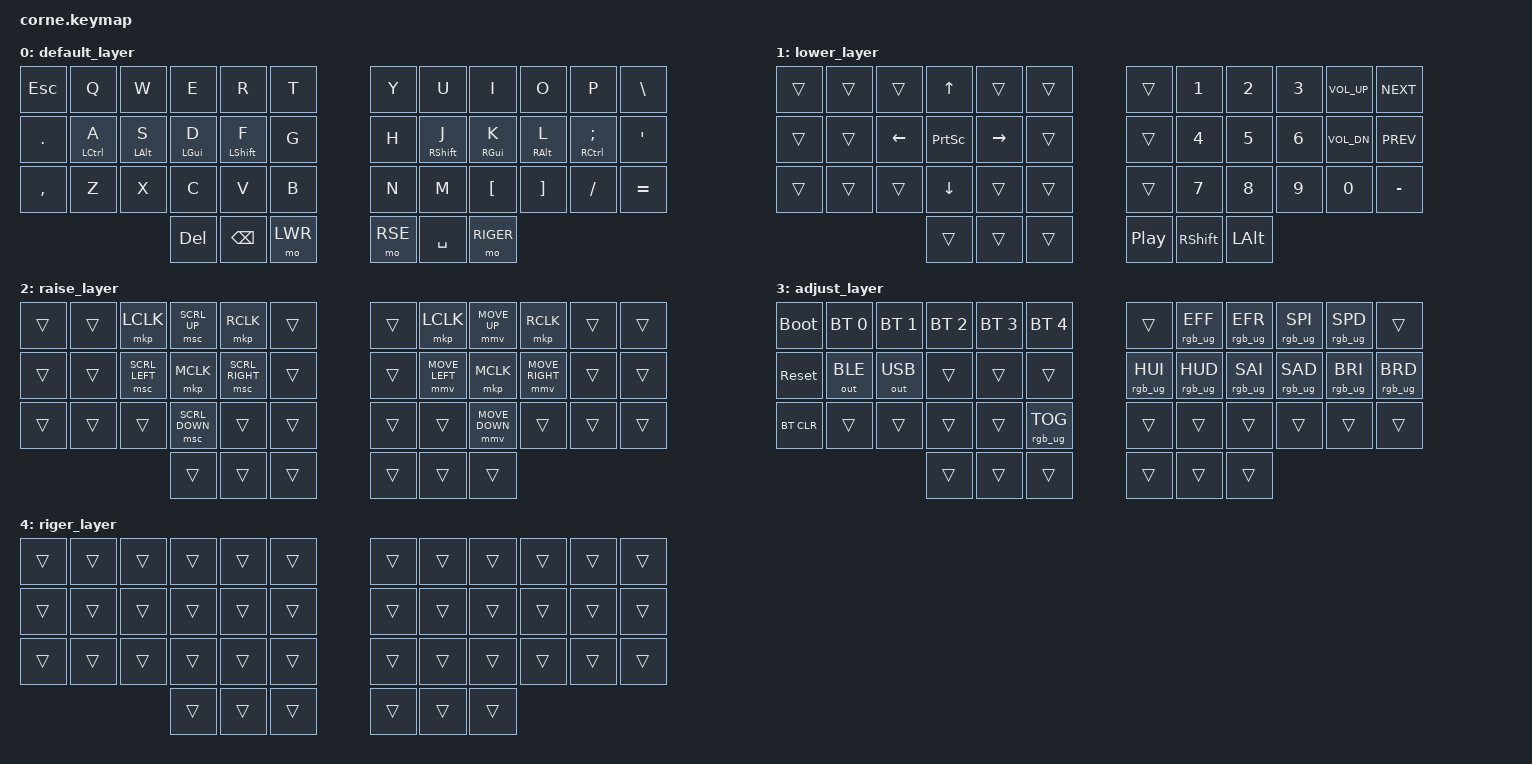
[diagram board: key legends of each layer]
#include <behaviors.dtsi>
#include <dt-bindings/zmk/keys.h>
#include <dt-bindings/zmk/bt.h>
#include <dt-bindings/zmk/outputs.h>
#include <dt-bindings/zmk/rgb.h>
#include <dt-bindings/zmk/ext_power.h>
#include <dt-bindings/zmk/pointing.h>

// ----- LED strip length override -----
// Default corne shield ships with chain-length = 10. Bump to 27
// (6 underglow + 21 per-key) so every LED lights up.
&led_strip {
    chain-length = <27>;
};

// Layer indices
#define DEF 0
#define LWR 1
#define RSE 2
#define ADJ 3
#define RIGER 4


/ {
    conditional_layers {
        compatible = "zmk,conditional-layers";
        tri {
            if-layers = <LWR RSE>;
            then-layer = <ADJ>;
        };
    };

    behaviors {
        // Tap = key, Hold = mod (homerow-friendly)
        hm: homerow_mods {
            compatible = "zmk,behavior-hold-tap";
            #binding-cells = <2>;
            tapping-term-ms = <200>;
            quick-tap-ms = <150>;
            require-prior-idle-ms = <150>;
            flavor = "tap-preferred";
            bindings = <&kp>, <&kp>;
        };
    };

    combos {
        compatible = "zmk,combos";
        combo {
                timeout-ms = <100>;
                key-positions = < 7 8 9>;
                bindings = <&kp RET>;
        };
    };

    keymap {
        compatible = "zmk,keymap";

        // ============================================================
        // 0 — DEFAULT (QWERTY)  3x6 + 3 thumbs per side = 42 keys
        // ============================================================
        default_layer {
            bindings = <
&kp ESC    &kp Q        &kp W       &kp E        &kp R        &kp T              &kp Y      &kp U        &kp I        &kp O       &kp P           &kp BSLH
&kp DOT    &hm LCTRL A  &hm LALT S  &hm LGUI D   &hm LSHFT F  &kp G              &kp H      &hm RSHFT J  &hm RGUI K   &hm RALT L  &hm RCTRL SEMI  &kp SQT
&kp COMMA   &kp Z        &kp X       &kp C        &kp V        &kp B              &kp N      &kp M        &kp LBKT     &kp RBKT    &kp FSLH        &kp EQUAL
                                    &kp DEL      &kp BSPC      &mo LWR           &mo RSE  &kp SPACE      &mo RIGER
            >;
        };

        // ============================================================
        // 1 — LOWER (numbers + nav)
        // ============================================================
        lower_layer {
            bindings = <
&trans   &trans   &trans     &kp UP      &trans      &trans            &trans    &kp N1      &kp N2    &kp N3     &kp C_VOL_UP     &kp C_NEXT
&trans   &trans   &kp LEFT   &kp PSCRN   &kp RIGHT   &trans            &trans    &kp N4      &kp N5    &kp N6     &kp C_VOL_DN     &kp C_PREV
&trans   &trans   &trans     &kp DOWN      &trans      &trans            &trans    &kp N7      &kp N8    &kp N9     &kp N0         &kp MINUS
                             &trans      &trans      &trans            &kp C_PP    &kp RSHFT   &kp LALT
            >;
        };

        // ============================================================
        // 2 — RAISE (symbols)
        // ============================================================
        raise_layer {
            bindings = <
&trans  &trans    &mkp LCLK            &msc SCRL_UP         &mkp RCLK          &trans               &trans  &mkp LCLK            &mmv MOVE_UP      &mkp RCLK           &trans   &trans
&trans  &trans    &msc SCRL_LEFT       &mkp MCLK            &msc SCRL_RIGHT    &trans               &trans  &mmv MOVE_LEFT       &mkp MCLK         &mmv MOVE_RIGHT     &trans   &trans
&trans  &trans    &trans               &msc SCRL_DOWN       &trans             &trans               &trans  &trans               &mmv MOVE_DOWN   &trans              &trans   &trans
                                       &trans               &trans             &trans               &trans  &trans               &trans
            >;
        };

        // ============================================================
        // 3 — ADJUST (BT, RGB, power, resets)
        // ============================================================
        adjust_layer {
            bindings = <
&bootloader      &bt BT_SEL 0  &bt BT_SEL 1  &bt BT_SEL 2  &bt BT_SEL 3  &bt BT_SEL 4                &trans           &rgb_ug RGB_EFF  &rgb_ug RGB_EFR  &rgb_ug RGB_SPI  &rgb_ug RGB_SPD  &trans
&sys_reset       &out OUT_BLE  &out OUT_USB  &trans        &trans        &trans                      &rgb_ug RGB_HUI  &rgb_ug RGB_HUD  &rgb_ug RGB_SAI  &rgb_ug RGB_SAD  &rgb_ug RGB_BRI  &rgb_ug RGB_BRD
&bt BT_CLR       &trans        &trans        &trans        &trans        &rgb_ug RGB_TOG             &trans           &trans           &trans           &trans           &trans           &trans
                                             &trans        &trans        &trans                      &trans           &trans           &trans
        >;
        };
        riger_layer {
            bindings = <
&trans  &trans    &trans    &trans    &trans    &trans               &trans  &trans   &trans   &trans   &trans   &trans
&trans  &trans    &trans    &trans    &trans    &trans               &trans  &trans   &trans   &trans   &trans   &trans
&trans  &trans    &trans    &trans    &trans    &trans               &trans  &trans   &trans   &trans   &trans   &trans
                              &trans  &trans    &trans               &trans  &trans   &trans
            >;
        };
    };
};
